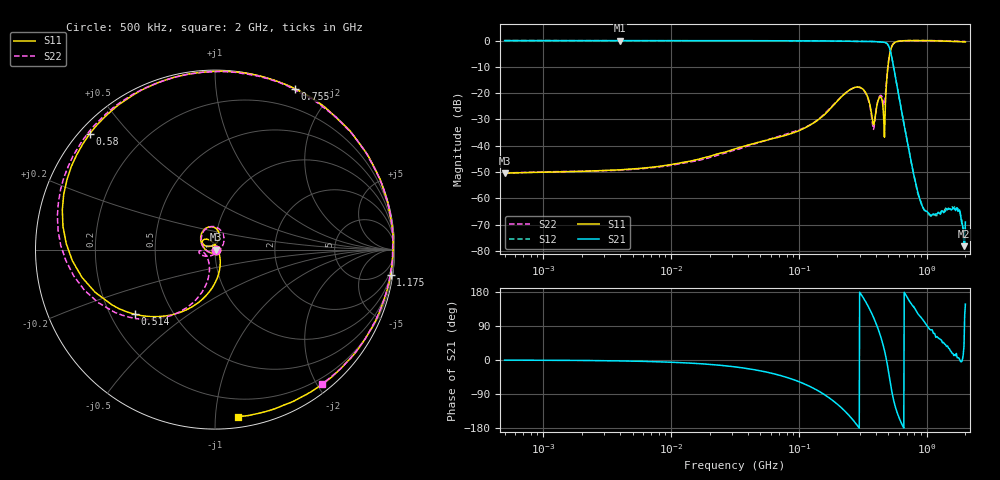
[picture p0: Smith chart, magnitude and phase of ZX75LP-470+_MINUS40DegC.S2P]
! Mini-Circuits
! S2P DATA File Format
! Type:LOW PASS FILTER
! Model: ZX75LP-470+
! All S Parameters are in dB deg format
! TEST CONDITIONS: INPUT POWER = 0 dBm @ Temperature = -40 deg C
! 401 Frequency points
# MHz S DB R 50
!FREQ	S11	S11_P	S21	S21_P	S12	S12_P	S22	S22_P
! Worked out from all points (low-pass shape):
!   361 points, 500 kHz to 2 GHz, reference 50 ohm
!   highest |S21| = -0.02 dB at 4 MHz (marker M1); lowest = -78.1 dB at 1.95 GHz (marker M2)
!   |S21| within 3 dB of the highest: start of sweep to 511.1 MHz
!   lowest |S11| = -50.4 dB at 500 kHz (marker M3), VSWR 1.01, Z = 50.3 - j0.00748 ohm
!   |S11| at or under -10 dB: start of sweep to 496.1 MHz
!   |S22| runs from -50.4 to 0.0 dB; largest |S21 - S12| = 0.0035
!   S11 on the Smith chart (normalised r, x): 500 kHz: 1.01, -0.00; 514 MHz: 0.30, -0.32; 580 MHz: 0.03, +0.39; 755 MHz: -0.00, +1.61; 1.175 GHz: 1, -14; 2 GHz: 0.07, -1.14
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0.5  -50.39 -1.4  -0.03 -0.3  -0.02 -0.3  -50.35 -0.6
2  -49.72 -0.1  -0.03 -1.2  -0.03 -1.2  -49.65 -0.8
4  -49.13 -3.0  -0.02 -2.5  -0.03 -2.4  -49.31 -4.3
8  -47.85 -9.5  -0.04 -4.7  -0.04 -4.7  -48.07 -11.4
32  -41.12 -48.0  -0.07 -18.3  -0.07 -18.4  -41.51 -53.5
126  -31.74 -131.4  -0.14 -72.3  -0.14 -72.3  -31.67 -136.2
206  -22.26 159.6  -0.22 -120.6  -0.23 -120.6  -22.18 158.6
302  -17.87 97.0  -0.35 176.0  -0.34 176.0  -17.96 89.5
382  -31.97 109.2  -0.39 113.1  -0.40 113.1  -33.76 -50.9
398  -27.47 155.6  -0.43 98.7  -0.43 98.8  -27.47 -126.0
442  -22.02 133.1  -0.57 54.5  -0.57 54.5  -21.10 -174.9
466  -36.74 10.2  -0.69 25.3  -0.69 25.3  -24.40 -137.8
478  -20.18 -73.3  -0.85 8.2  -0.85 8.3  -18.33 -104.9
502  -7.92 -119.2  -2.04 -31.8  -2.05 -31.7  -7.67 -121.0
514  -4.81 -141.2  -3.40 -53.2  -3.39 -53.0  -4.67 -138.8
580  -0.44 137.3  -16.45 -134.8  -16.45 -134.5  -0.47 146.7
755  0.01 63.6  -46.27 148.1  -46.38 148.0  -0.04 76.9
950  0.00 22.9  -64.36 101.8  -64.27 105.9  0.00 39.9
1175  -0.10 -8.3  -65.89 59.7  -66.57 67.9  -0.03 12.3
1800  -0.47 -68.0  -64.38 2.1  -64.20 -2.4  -0.29 -38.9
1950  -0.51 -78.7  -78.14 36.3  -77.90 42.3  -0.36 -48.4
2000  -0.54 -82.3  -68.95 147.4  -71.11 139.2  -0.38 -51.4
